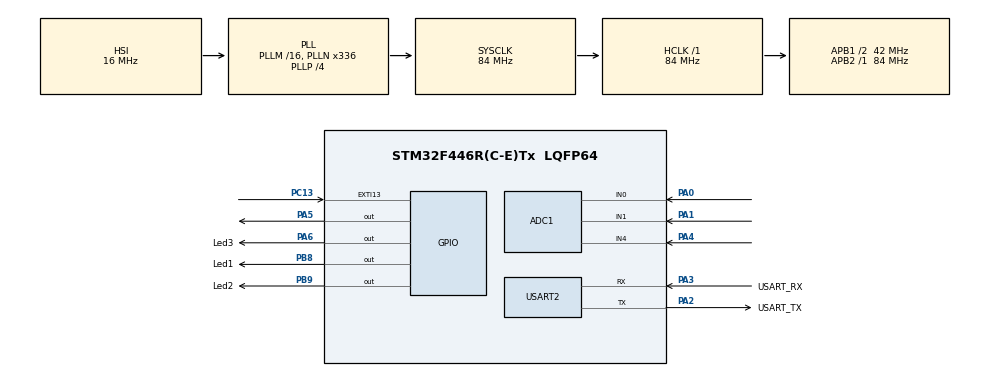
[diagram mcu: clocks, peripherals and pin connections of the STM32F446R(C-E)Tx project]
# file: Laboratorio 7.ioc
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ADC1.Channel-0\#ChannelRegularConversion=ADC_CHANNEL_0
ADC1.Channel-1\#ChannelRegularConversion=ADC_CHANNEL_1
ADC1.Channel-2\#ChannelRegularConversion=ADC_CHANNEL_4
ADC1.ContinuousConvMode=ENABLE
ADC1.DMAContinuousRequests=ENABLE
ADC1.EOCSelection=ADC_EOC_SEQ_CONV
ADC1.InjNumberOfConversion=0
ADC1.NbrOfConversion=3
ADC1.NbrOfConversionFlag=1
ADC1.Rank-0\#ChannelRegularConversion=1
ADC1.Rank-1\#ChannelRegularConversion=2
ADC1.Rank-2\#ChannelRegularConversion=3
ADC1.SamplingTime-0\#ChannelRegularConversion=ADC_SAMPLETIME_56CYCLES
ADC1.SamplingTime-1\#ChannelRegularConversion=ADC_SAMPLETIME_56CYCLES
ADC1.SamplingTime-2\#ChannelRegularConversion=ADC_SAMPLETIME_56CYCLES
ADC1.ScanConvMode=ENABLE
ADC1.master=1
Dma.ADC1.0.Direction=DMA_PERIPH_TO_MEMORY
Dma.ADC1.0.FIFOMode=DMA_FIFOMODE_DISABLE
Dma.ADC1.0.Instance=DMA2_Stream0
Dma.ADC1.0.MemDataAlignment=DMA_MDATAALIGN_HALFWORD
Dma.ADC1.0.MemInc=DMA_MINC_ENABLE
Dma.ADC1.0.Mode=DMA_CIRCULAR
Dma.ADC1.0.PeriphDataAlignment=DMA_PDATAALIGN_HALFWORD
Dma.ADC1.0.PeriphInc=DMA_PINC_DISABLE
Dma.ADC1.0.Priority=DMA_PRIORITY_LOW
Dma.Request0=ADC1
Mcu.Family=STM32F4
Mcu.Name=STM32F446R(C-E)Tx
Mcu.Package=LQFP64
NUCLEO-F446RE.BUTTON=1
NUCLEO-F446RE.LD1=true
NVIC.DMA2_Stream0_IRQn=true\:0\:0\:false\:false\:true\:false\:true\:true
NVIC.EXTI15_10_IRQn=true\:0\:0\:false\:false\:true\:false\:true\:true
NVIC.PriorityGroup=NVIC_PRIORITYGROUP_0
NVIC.TIM2_IRQn=true\:0\:0\:false\:false\:true\:true\:true\:true
PA0-WKUP.Signal=ADCx_IN0
PA1.Signal=ADCx_IN1
PA13.GPIO_Label=TMS
PA13.Signal=SYS_JTMS-SWDIO
PA14.GPIO_Label=TCK
PA14.Signal=SYS_JTCK-SWCLK
PA2.GPIO_Label=USART_TX
PA2.Mode=Asynchronous
PA2.Signal=USART2_TX
PA3.GPIO_Label=USART_RX
PA3.Mode=Asynchronous
PA3.Signal=USART2_RX
PA4.Signal=ADCx_IN4
PA5.Signal=GPIO_Output
PA6.GPIO_Label=Led3
PA6.Signal=GPIO_Output
PB3.GPIO_Label=SWO
PB3.Signal=SYS_JTDO-SWO
PB8.GPIO_Label=Led1
PB8.Signal=GPIO_Output
PB9.GPIO_Label=Led2
PB9.Signal=GPIO_Output
PC13.Signal=GPXTI13
PC14-OSC32_IN.Signal=RCC_OSC32_IN
PC15-OSC32_OUT.Signal=RCC_OSC32_OUT
PH0-OSC_IN.Signal=RCC_OSC_IN
PH1-OSC_OUT.Signal=RCC_OSC_OUT
ProjectManager.HeapSize=0x200
ProjectManager.StackSize=0x400
ProjectManager.TargetToolchain=STM32CubeIDE
RCC.AHBFreq_Value=84000000
RCC.APB1CLKDivider=RCC_HCLK_DIV2
RCC.APB1Freq_Value=42000000
RCC.APB1TimFreq_Value=84000000
RCC.APB2Freq_Value=84000000
RCC.APB2TimFreq_Value=84000000
RCC.CortexFreq_Value=84000000
RCC.FLatency-AdvancedSettings=FLASH_LATENCY_2
RCC.HCLKFreq_Value=84000000
RCC.HSE_VALUE=8000000
RCC.HSI_VALUE=16000000
RCC.LSE_VALUE=32768
RCC.PLLN=336
RCC.PLLP=RCC_PLLP_DIV4
RCC.SYSCLKFreq_VALUE=84000000
RCC.SYSCLKSource=RCC_SYSCLKSOURCE_PLLCLK
RCC.USBFreq_Value=168000000
RCC.VCOOutputFreq_Value=336000000
SH.ADCx_IN0.0=ADC1_IN0,IN0
SH.ADCx_IN1.0=ADC1_IN1,IN1
SH.ADCx_IN4.0=ADC1_IN4,IN4
TIM2.Period=10000-1
TIM2.Prescaler=8400-1
USART2.VirtualMode=VM_ASYNC
VP_NUCLEO-F446RE_VS_BSP_COMMON.Mode=COMMON
VP_TIM2_VS_ClockSourceINT.Mode=Internal
board=NUCLEO-F446RE

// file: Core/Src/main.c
/* USER CODE BEGIN Header */
/**
  ******************************************************************************
  * @file           : main.c
  * @brief          : Main program body
  ******************************************************************************
  * @attention
  *
  * Copyright (c) 2026 STMicroelectronics.
  * All rights reserved.
  *
  * This software is licensed under terms that can be found in the LICENSE file
  * in the root directory of this software component.
  * If no LICENSE file comes with this software, it is provided AS-IS.
  *
  ******************************************************************************
  */
/* USER CODE END Header */
#include "main.h"

/* USER CODE BEGIN Includes */
#include <stdio.h>
#include <string.h>
/* USER CODE END Includes */

ADC_HandleTypeDef hadc1;
DMA_HandleTypeDef hdma_adc1;

TIM_HandleTypeDef htim2;

UART_HandleTypeDef huart2;

/* USER CODE BEGIN PV */
volatile uint16_t adc[3] = {0, 0, 0};
volatile uint16_t enviar = 0;

uint16_t sensor1 = 0;
uint16_t sensor2 = 0;
uint16_t sensor3 = 0;
uint16_t contador = 0;
char mensaje[150];
uint16_t temp = 0;
uint16_t bpm = 0;
uint16_t oxi = 0;

/* USER CODE END PV */

void SystemClock_Config(void);
static void MX_GPIO_Init(void);
static void MX_DMA_Init(void);
static void MX_ADC1_Init(void);
static void MX_USART2_UART_Init(void);
static void MX_TIM2_Init(void);

int main(void)
{

  /* MCU Configuration--------------------------------------------------------*/

  /* Reset of all peripherals, Initializes the Flash interface and the Systick. */
  HAL_Init();

  /* Configure the system clock */
  SystemClock_Config();

  /* Initialize all configured peripherals */
  MX_GPIO_Init();
  MX_DMA_Init();
  MX_ADC1_Init();
  MX_USART2_UART_Init();
  MX_TIM2_Init();
  /* USER CODE BEGIN 2 */
  HAL_ADC_Start_DMA(&hadc1, (uint32_t *)adc, 3);
  HAL_TIM_Base_Start_IT(&htim2);
  /* USER CODE END 2 */

  /* Initialize leds */
  BSP_LED_Init(LED2);

  /* Initialize USER push-button, will be used to trigger an interrupt each time it's pressed.*/
  BSP_PB_Init(BUTTON_USER, BUTTON_MODE_EXTI);

  /* Infinite loop */
  /* USER CODE BEGIN WHILE */
  while (1)
  {
	  contador++;
	  sensor1 = adc [0];
	  sensor2 = adc [1];
	  sensor3 = adc [2];

	  temp = sensor1/16.0588;
	  bpm = sensor3/16.0588;
	  oxi = sensor2/16.0588;

	  if (enviar == 1){
		  enviar = 0;
		  snprintf (mensaje, sizeof(mensaje), "Temperatura: %d C | Oxigenaci0n: %d %% | Latidos: %d BPM \r\n", temp, oxi, bpm);
		  HAL_UART_Transmit(&huart2, (uint8_t*)mensaje, strlen(mensaje), 1000);
	  }
	  HAL_Delay (50);

	  if (temp<= 35 || temp >= 45){
		  HAL_GPIO_WritePin(Led1_GPIO_Port, Led1_Pin, 1);
	  } else {
		  HAL_GPIO_WritePin(Led1_GPIO_Port, Led1_Pin, 0);
	  }

	  if (bpm<= 60 || bpm >= 100){
		  HAL_GPIO_WritePin(Led3_GPIO_Port, Led3_Pin, 1);
	  } else {
		  HAL_GPIO_WritePin(Led3_GPIO_Port, Led3_Pin, 0);
	  }

	  if (oxi< 95 || oxi >= 100){
		  HAL_GPIO_WritePin(Led2_GPIO_Port, Led2_Pin, 1);
	  } else {
		  HAL_GPIO_WritePin(Led2_GPIO_Port, Led2_Pin, 0);
	  }

    /* USER CODE END WHILE */

  }
}

void SystemClock_Config(void)
{
  RCC_OscInitTypeDef RCC_OscInitStruct = {0};
  RCC_ClkInitTypeDef RCC_ClkInitStruct = {0};

  /** Configure the main internal regulator output voltage
  */
  __HAL_RCC_PWR_CLK_ENABLE();
  __HAL_PWR_VOLTAGESCALING_CONFIG(PWR_REGULATOR_VOLTAGE_SCALE3);

  /** Initializes the RCC Oscillators according to the specified parameters
  * in the RCC_OscInitTypeDef structure.
  */
  RCC_OscInitStruct.OscillatorType = RCC_OSCILLATORTYPE_HSI;
  RCC_OscInitStruct.HSIState = RCC_HSI_ON;
  RCC_OscInitStruct.HSICalibrationValue = RCC_HSICALIBRATION_DEFAULT;
  RCC_OscInitStruct.PLL.PLLState = RCC_PLL_ON;
  RCC_OscInitStruct.PLL.PLLSource = RCC_PLLSOURCE_HSI;
  RCC_OscInitStruct.PLL.PLLM = 16;
  RCC_OscInitStruct.PLL.PLLN = 336;
  RCC_OscInitStruct.PLL.PLLP = RCC_PLLP_DIV4;
  RCC_OscInitStruct.PLL.PLLQ = 2;
  RCC_OscInitStruct.PLL.PLLR = 2;
  if (HAL_RCC_OscConfig(&RCC_OscInitStruct) != HAL_OK)
  {
    Error_Handler();
  }

  /** Initializes the CPU, AHB and APB buses clocks
  */
  RCC_ClkInitStruct.ClockType = RCC_CLOCKTYPE_HCLK|RCC_CLOCKTYPE_SYSCLK
                              |RCC_CLOCKTYPE_PCLK1|RCC_CLOCKTYPE_PCLK2;
  RCC_ClkInitStruct.SYSCLKSource = RCC_SYSCLKSOURCE_PLLCLK;
  RCC_ClkInitStruct.AHBCLKDivider = RCC_SYSCLK_DIV1;
  RCC_ClkInitStruct.APB1CLKDivider = RCC_HCLK_DIV2;
  RCC_ClkInitStruct.APB2CLKDivider = RCC_HCLK_DIV1;

  if (HAL_RCC_ClockConfig(&RCC_ClkInitStruct, FLASH_LATENCY_2) != HAL_OK)
  {
    Error_Handler();
  }
}

static void MX_ADC1_Init(void)
{

  ADC_ChannelConfTypeDef sConfig = {0};

  /** Configure the global features of the ADC (Clock, Resolution, Data Alignment and number of conversion)
  */
  hadc1.Instance = ADC1;
  hadc1.Init.ClockPrescaler = ADC_CLOCK_SYNC_PCLK_DIV4;
  hadc1.Init.Resolution = ADC_RESOLUTION_12B;
  hadc1.Init.ScanConvMode = ENABLE;
  hadc1.Init.ContinuousConvMode = ENABLE;
  hadc1.Init.DiscontinuousConvMode = DISABLE;
  hadc1.Init.ExternalTrigConvEdge = ADC_EXTERNALTRIGCONVEDGE_NONE;
  hadc1.Init.ExternalTrigConv = ADC_SOFTWARE_START;
  hadc1.Init.DataAlign = ADC_DATAALIGN_RIGHT;
  hadc1.Init.NbrOfConversion = 3;
  hadc1.Init.DMAContinuousRequests = ENABLE;
  hadc1.Init.EOCSelection = ADC_EOC_SEQ_CONV;
  if (HAL_ADC_Init(&hadc1) != HAL_OK)
  {
    Error_Handler();
  }

  /** Configure for the selected ADC regular channel its corresponding rank in the sequencer and its sample time.
  */
  sConfig.Channel = ADC_CHANNEL_0;
  sConfig.Rank = 1;
  sConfig.SamplingTime = ADC_SAMPLETIME_56CYCLES;
  if (HAL_ADC_ConfigChannel(&hadc1, &sConfig) != HAL_OK)
  {
    Error_Handler();
  }

  /** Configure for the selected ADC regular channel its corresponding rank in the sequencer and its sample time.
  */
  sConfig.Channel = ADC_CHANNEL_1;
  sConfig.Rank = 2;
  if (HAL_ADC_ConfigChannel(&hadc1, &sConfig) != HAL_OK)
  {
    Error_Handler();
  }

  /** Configure for the selected ADC regular channel its corresponding rank in the sequencer and its sample time.
  */
  sConfig.Channel = ADC_CHANNEL_4;
  sConfig.Rank = 3;
  if (HAL_ADC_ConfigChannel(&hadc1, &sConfig) != HAL_OK)
  {
    Error_Handler();
  }

}

static void MX_TIM2_Init(void)
{

  TIM_ClockConfigTypeDef sClockSourceConfig = {0};
  TIM_MasterConfigTypeDef sMasterConfig = {0};

  htim2.Instance = TIM2;
  htim2.Init.Prescaler = 8400-1;
  htim2.Init.CounterMode = TIM_COUNTERMODE_UP;
  htim2.Init.Period = 10000-1;
  htim2.Init.ClockDivision = TIM_CLOCKDIVISION_DIV1;
  htim2.Init.AutoReloadPreload = TIM_AUTORELOAD_PRELOAD_DISABLE;
  if (HAL_TIM_Base_Init(&htim2) != HAL_OK)
  {
    Error_Handler();
  }
  sClockSourceConfig.ClockSource = TIM_CLOCKSOURCE_INTERNAL;
  if (HAL_TIM_ConfigClockSource(&htim2, &sClockSourceConfig) != HAL_OK)
  {
    Error_Handler();
  }
  sMasterConfig.MasterOutputTrigger = TIM_TRGO_RESET;
  sMasterConfig.MasterSlaveMode = TIM_MASTERSLAVEMODE_DISABLE;
  if (HAL_TIMEx_MasterConfigSynchronization(&htim2, &sMasterConfig) != HAL_OK)
  {
    Error_Handler();
  }

}

static void MX_USART2_UART_Init(void)
{

  huart2.Instance = USART2;
  huart2.Init.BaudRate = 115200;
  huart2.Init.WordLength = UART_WORDLENGTH_8B;
  huart2.Init.StopBits = UART_STOPBITS_1;
  huart2.Init.Parity = UART_PARITY_NONE;
  huart2.Init.Mode = UART_MODE_TX_RX;
  huart2.Init.HwFlowCtl = UART_HWCONTROL_NONE;
  huart2.Init.OverSampling = UART_OVERSAMPLING_16;
  if (HAL_UART_Init(&huart2) != HAL_OK)
  {
    Error_Handler();
  }

}

static void MX_DMA_Init(void)
{

  /* DMA controller clock enable */
  __HAL_RCC_DMA2_CLK_ENABLE();

  /* DMA interrupt init */
  /* DMA2_Stream0_IRQn interrupt configuration */
  HAL_NVIC_SetPriority(DMA2_Stream0_IRQn, 0, 0);
  HAL_NVIC_EnableIRQ(DMA2_Stream0_IRQn);

}

static void MX_GPIO_Init(void)
{
  GPIO_InitTypeDef GPIO_InitStruct = {0};

  /* GPIO Ports Clock Enable */
  __HAL_RCC_GPIOC_CLK_ENABLE();
  __HAL_RCC_GPIOH_CLK_ENABLE();
  __HAL_RCC_GPIOA_CLK_ENABLE();
  __HAL_RCC_GPIOB_CLK_ENABLE();

  /*Configure GPIO pin Output Level */
  HAL_GPIO_WritePin(Led3_GPIO_Port, Led3_Pin, GPIO_PIN_RESET);

  /*Configure GPIO pin Output Level */
  HAL_GPIO_WritePin(GPIOB, Led1_Pin|Led2_Pin, GPIO_PIN_RESET);

  /*Configure GPIO pin : Led3_Pin */
  GPIO_InitStruct.Pin = Led3_Pin;
  GPIO_InitStruct.Mode = GPIO_MODE_OUTPUT_PP;
  GPIO_InitStruct.Pull = GPIO_NOPULL;
  GPIO_InitStruct.Speed = GPIO_SPEED_FREQ_LOW;
  HAL_GPIO_Init(Led3_GPIO_Port, &GPIO_InitStruct);

  /*Configure GPIO pins : Led1_Pin Led2_Pin */
  GPIO_InitStruct.Pin = Led1_Pin|Led2_Pin;
  GPIO_InitStruct.Mode = GPIO_MODE_OUTPUT_PP;
  GPIO_InitStruct.Pull = GPIO_NOPULL;
  GPIO_InitStruct.Speed = GPIO_SPEED_FREQ_LOW;
  HAL_GPIO_Init(GPIOB, &GPIO_InitStruct);

}

/* USER CODE BEGIN 4 */
void HAL_TIM_PeriodElapsedCallback (TIM_HandleTypeDef *htim){
	if (htim ->Instance == TIM2){
		enviar = 1;
	}
}
/* USER CODE END 4 */

void Error_Handler(void)
{
  __disable_irq();
  while (1)
  {
  }
}
